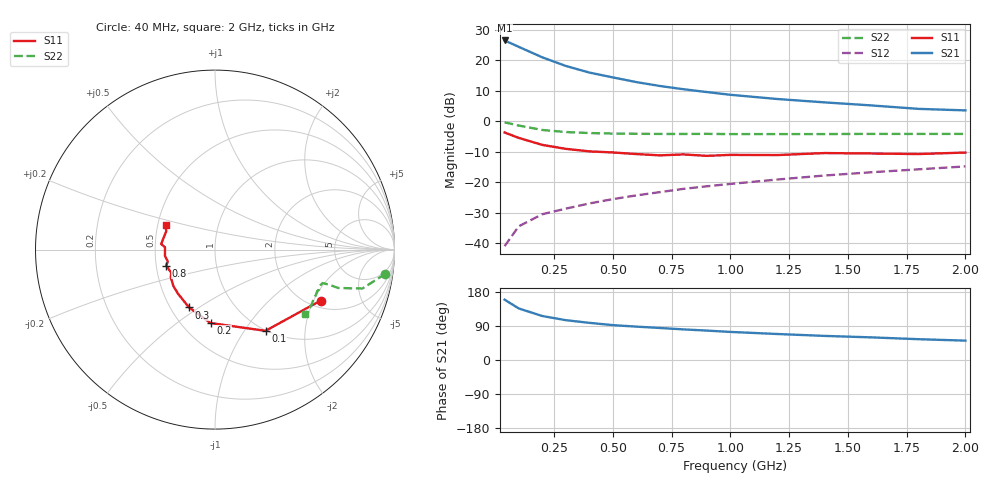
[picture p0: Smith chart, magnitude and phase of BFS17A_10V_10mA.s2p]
! Filename:  BFS17AH.S2P  Version:  2.0
! Philips part #: BFS17A  Date: May 1990
! Bias condition: Vce=10V, Ic=10mA
#  MHz  S  MA  R  50
! Freq  S11  S21  S12  S22  !GUM [dB]
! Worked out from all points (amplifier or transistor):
!   16 points, 40 MHz to 2 GHz, reference 50 ohm
!   highest |S21| = 26.4 dB at 40 MHz (marker M1)
!   |S21| within 3 dB of that: start of sweep to 126.7 MHz
!   unconditionally stable (mu >= 1): 525 MHz to 1.909 GHz
!   at 200 MHz: K = 0.67, MSG = 25.7 dB, |S12| = -30.5 dB
!   at 800 MHz: K = 1.06, MAG = 14.9 dB, |S12| = -22.2 dB
!   at 2 GHz: K = 0.97, MSG = 9.2 dB, |S12| = -14.8 dB
!   S11 on the Smith chart (normalised r, x): 40 MHz: 2.30, -2.28; 100 MHz: 0.99, -1.26; 200 MHz: 0.68, -0.67; 300 MHz: 0.62, -0.46; 800 MHz: 0.56, -0.11; 2 GHz: 0.55, +0.16
40  0.654 -25.7  21 159.2  0.009 74.2  0.959 -8.1
100  0.533 -58.1  16.52 136.1  0.019 66.9  0.849 -14.8
200  0.41 -93.4  11.12 116.1  0.03 63.4  0.719 -17.3
300  0.353 -114.2  8.037 105.1  0.037 64.8  0.665 -17.1
400  0.321 -129.8  6.264 98.1  0.045 66.8  0.64 -17.2
500  0.308 -139.0  5.217 92.0  0.053 68.9  0.628 -17.3
600  0.29 -148.1  4.374 88.1  0.061 70.4  0.622 -18.2
700  0.276 -152.1  3.777 84.5  0.069 73.4  0.619 -19.1
800  0.286 -161.9  3.341 80.8  0.078 73.8  0.618 -20.0
900  0.271 -165.8  3.004 77.6  0.086 75.2  0.621 -21.0
1000  0.281 -172.9  2.708 74.1  0.094 75.2  0.615 -22.0
1200  0.279 177.3  2.309 68.6  0.111 76.9  0.616 -24.5
1400  0.301 174.1  2.036 63.6  0.129 77.2  0.616 -27.5
1600  0.296 169.4  1.813 59.7  0.146 78.1  0.62 -30.0
1800  0.29 159.4  1.593 54.9  0.163 78.6  0.619 -32.7
2000  0.307 153.8  1.504 51.1  0.182 78.3  0.62 -35.6
